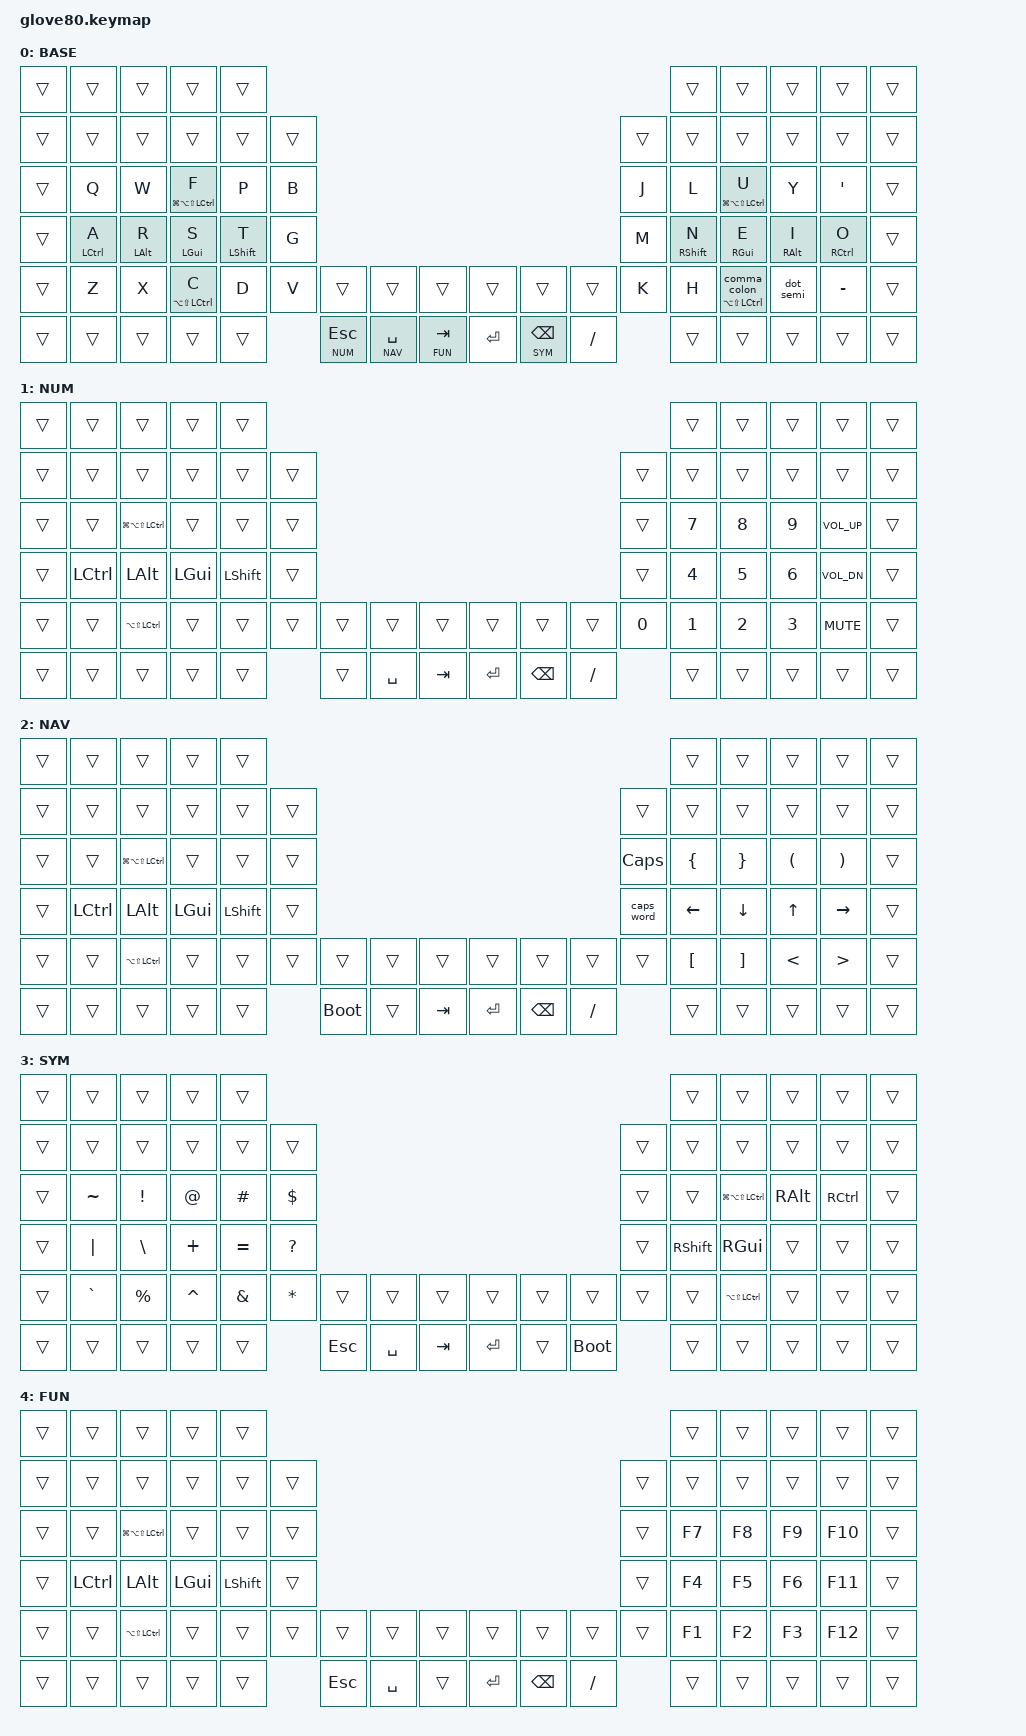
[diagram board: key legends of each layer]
/*
 * Copyright (c) 2020 The ZMK Contributors
 *
 * SPDX-License-Identifier: MIT
 */

#include <behaviors.dtsi>
#include <dt-bindings/zmk/keys.h>
#include <dt-bindings/zmk/bt.h>
#include <dt-bindings/zmk/ext_power.h>
#include <dt-bindings/zmk/outputs.h>
#include <dt-bindings/zmk/rgb.h>

// layers
#define BASE 0
#define NUM  1
#define NAV  2
#define SYM  3
#define FUN  4

// HYPER AND MEH
#define HYPER LG(LA(LS(LCTRL)))
#define MEH LA(LS(LCTRL))

&mt {
  quick-tap-ms = <100>;
  global-quick-tap;
  flavor = "tap-preferred";
  tapping-term-ms = <170>;
};

&lt {
 quick-tap-ms = <200>;
};

&caps_word {
 continue-list = <UNDERSCORE MINUS BSPC>;
};

/ {
    behaviors {
        comma_colon: comma_colon {
            compatible = "zmk,behavior-mod-morph";
            #binding-cells = <0>;
            bindings = <&kp COMMA>, <&kp COLON>;
            mods = <(MOD_LSFT|MOD_RSFT)>;
        };
        dot_semi: dot_semi {
            compatible = "zmk,behavior-mod-morph";
            #binding-cells = <0>;
            bindings = <&kp DOT>, <&kp SEMI>;
            mods = <(MOD_LSFT|MOD_RSFT)>;
        };
        lt_meh_comma_colon: lt_meh_comma_colon {
            compatible = "zmk,behavior-hold-tap";
            #binding-cells = <2>;
            bindings = <&kp>, <&comma_colon>;

            quick-tap-ms = <100>;
            global-quick-tap;
            flavor = "tap-preferred";
            tapping-term-ms = <170>;
        };
    };

    keymap {
        compatible = "zmk,keymap";

        base_layer {
            label= "BASE";

            bindings = <
                &trans    &trans         &trans        &trans         &trans                                                                                                                  &trans         &trans                       &trans        &trans         &trans
                &trans    &trans         &trans        &trans         &trans         &trans                                                                                         &trans    &trans         &trans                       &trans        &trans         &trans
                &trans    &kp Q          &kp W         &mt HYPER F    &kp P          &kp B                                                                                          &kp J     &kp L          &mt HYPER U                  &kp Y         &kp SQT        &trans
                &trans    &mt LCTRL A    &mt LALT R    &mt LGUI S     &mt LSHFT T    &kp G                                                                                          &kp M     &mt RSHFT N    &mt RGUI E                   &mt RALT I    &mt RCTRL O    &trans
                &trans    &kp Z          &kp X         &mt MEH C      &kp D          &kp V     &trans         &trans           &trans         &trans     &trans          &trans     &kp K     &kp H          &lt_meh_comma_colon MEH 0    &dot_semi     &kp MINUS      &trans
                &trans    &trans         &trans        &trans         &trans                   &lt NUM ESC    &lt NAV SPACE    &lt FUN TAB    &kp RET    &lt SYM BSPC    &kp FSLH             &trans         &trans                       &trans        &trans         &trans
            >;
        };
        
        num_layer {
            label= "NUM";

            bindings = <
                &trans    &trans       &trans      &trans      &trans                                                                                               &trans    &trans    &trans    &trans          &trans
                &trans    &trans       &trans      &trans      &trans       &trans                                                                        &trans    &trans    &trans    &trans    &trans          &trans
                &trans    &trans       &kp HYPER   &trans      &trans       &trans                                                                        &trans    &kp N7    &kp N8    &kp N9    &kp C_VOL_UP    &trans
                &trans    &kp LCTRL    &kp LALT    &kp LGUI    &kp LSHFT    &trans                                                                        &trans    &kp N4    &kp N5    &kp N6    &kp C_VOL_DN    &trans
                &trans    &trans       &kp MEH     &trans      &trans       &trans    &trans    &trans       &trans     &trans     &trans     &trans      &kp N0    &kp N1    &kp N2    &kp N3    &kp C_MUTE      &trans
                &trans    &trans       &trans      &trans      &trans                 &trans    &kp SPACE    &kp TAB    &kp RET    &kp BSPC   &kp FSLH              &trans    &trans    &trans    &trans          &trans
            >;
        };

        nav_layer {
            label= "NAV";

            bindings = <
                &trans    &trans       &trans      &trans      &trans                                                                                                          &trans              &trans               &trans                  &trans                   &trans
                &trans    &trans       &trans      &trans      &trans       &trans                                                                             &trans          &trans              &trans               &trans                  &trans                   &trans
                &trans    &trans       &kp HYPER   &trans      &trans       &trans                                                                             &kp CAPSLOCK    &kp LEFT_BRACE      &kp RIGHT_BRACE      &kp LEFT_PARENTHESIS    &kp RIGHT_PARENTHESIS    &trans
                &trans    &kp LCTRL    &kp LALT    &kp LGUI    &kp LSHFT    &trans                                                                             &caps_word      &kp LEFT            &kp DOWN             &kp UP                  &kp RIGHT                &trans
                &trans    &trans       &kp MEH     &trans      &trans       &trans    &trans         &trans       &trans     &trans     &trans     &trans      &trans          &kp LEFT_BRACKET    &kp RIGHT_BRACKET    &kp LESS_THAN           &kp GREATER_THAN         &trans
                &trans    &trans       &trans      &trans      &trans                 &bootloader    &trans       &kp TAB    &kp RET    &kp BSPC   &kp FSLH                    &trans              &trans               &trans                  &trans                   &trans
            >;
        };

        sym_layer {
            label= "SYM";

            bindings = <
                &trans    &trans      &trans             &trans         &trans                                                                                                            &trans       &trans       &trans      &trans       &trans
                &trans    &trans      &trans             &trans         &trans           &trans                                                                                 &trans    &trans       &trans       &trans      &trans       &trans
                &trans    &kp TILDE   &kp EXCLAMATION    &kp AT_SIGN    &kp HASH         &kp DOLLAR                                                                             &trans    &trans       &kp HYPER    &kp RALT    &kp RCTRL    &trans
                &trans    &kp PIPE    &kp BACKSLASH      &kp PLUS       &kp EQUAL        &kp QUESTION                                                                           &trans    &kp RSHFT    &kp RGUI     &trans      &trans       &trans
                &trans    &kp GRAVE   &kp PERCENT        &kp CARET      &kp AMPERSAND    &kp ASTERISK    &trans    &trans       &trans     &trans     &trans     &trans         &trans    &trans       &kp MEH      &trans      &trans       &trans
                &trans    &trans      &trans             &trans         &trans                           &kp ESC   &kp SPACE    &kp TAB    &kp RET    &trans     &bootloader              &trans       &trans       &trans      &trans       &trans
            >;
        };

        fun_layer {
            label= "FUN";

            bindings = <
                &trans    &trans       &trans      &trans      &trans                                                                                               &trans    &trans    &trans    &trans     &trans
                &trans    &trans       &trans      &trans      &trans       &trans                                                                        &trans    &trans    &trans    &trans    &trans     &trans
                &trans    &trans       &kp HYPER   &trans      &trans       &trans                                                                        &trans    &kp F7    &kp F8    &kp F9    &kp F10    &trans
                &trans    &kp LCTRL    &kp LALT    &kp LGUI    &kp LSHFT    &trans                                                                        &trans    &kp F4    &kp F5    &kp F6    &kp F11    &trans
                &trans    &trans       &kp MEH     &trans      &trans       &trans    &trans    &trans       &trans     &trans     &trans     &trans      &trans    &kp F1    &kp F2    &kp F3    &kp F12    &trans
                &trans    &trans       &trans      &trans      &trans                 &kp ESC   &kp SPACE    &trans     &kp RET    &kp BSPC   &kp FSLH              &trans    &trans    &trans    &trans     &trans
            >;
        };
    };
};
